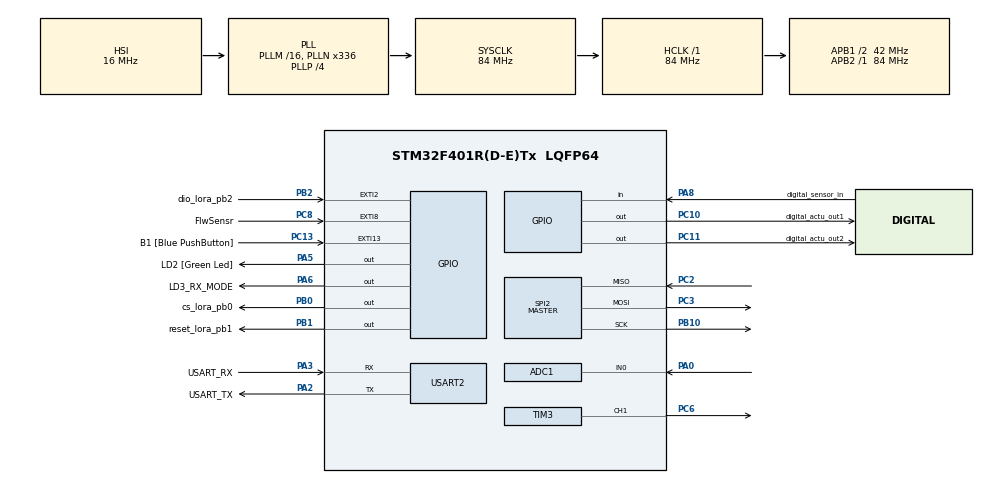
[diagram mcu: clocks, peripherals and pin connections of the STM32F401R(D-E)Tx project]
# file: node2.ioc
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ADC1.Channel-0\#ChannelRegularConversion=ADC_CHANNEL_0
ADC1.NbrOfConversion=1
ADC1.NbrOfConversionFlag=1
ADC1.Rank-0\#ChannelRegularConversion=1
ADC1.SamplingTime-0\#ChannelRegularConversion=ADC_SAMPLETIME_15CYCLES
ADC1.master=1
Mcu.Family=STM32F4
Mcu.Name=STM32F401R(D-E)Tx
Mcu.Package=LQFP64
Mcu.UserConstants=sleeptime,10;rcvtime,1
NVIC.ADC_IRQn=true\:0\:0\:false\:false\:true\:true\:true\:true
NVIC.EXTI15_10_IRQn=true\:0\:0\:false\:false\:true\:true\:true\:true
NVIC.EXTI2_IRQn=true\:0\:0\:false\:false\:true\:true\:true\:true
NVIC.PriorityGroup=NVIC_PRIORITYGROUP_0
NVIC.TIM2_IRQn=true\:0\:0\:false\:false\:true\:true\:true\:true
NVIC.TIM3_IRQn=true\:0\:0\:false\:false\:true\:true\:true\:true
NVIC.TIM5_IRQn=true\:0\:0\:false\:false\:true\:true\:true\:true
PA0-WKUP.Signal=ADCx_IN0
PA13.GPIO_Label=TMS
PA13.Mode=Serial_Wire
PA13.Signal=SYS_JTMS-SWDIO
PA14.GPIO_Label=TCK
PA14.Mode=Serial_Wire
PA14.Signal=SYS_JTCK-SWCLK
PA2.GPIO_Label=USART_TX
PA2.GPIO_Mode=GPIO_MODE_AF_PP
PA2.GPIO_PuPd=GPIO_NOPULL
PA2.GPIO_Speed=GPIO_SPEED_FREQ_LOW
PA2.Mode=Asynchronous
PA2.Signal=USART2_TX
PA3.GPIO_Label=USART_RX
PA3.GPIO_Mode=GPIO_MODE_AF_PP
PA3.GPIO_PuPd=GPIO_NOPULL
PA3.GPIO_Speed=GPIO_SPEED_FREQ_LOW
PA3.Mode=Asynchronous
PA3.Signal=USART2_RX
PA5.GPIO_Label=LD2 [Green Led]
PA5.GPIO_PuPd=GPIO_NOPULL
PA5.GPIO_Speed=GPIO_SPEED_FREQ_LOW
PA5.Signal=GPIO_Output
PA6.GPIO_Label=LD3_RX_MODE
PA6.Signal=GPIO_Output
PA8.GPIO_Label=digital_sensor_in
PA8.Signal=GPIO_Input
PB0.GPIO_Label=cs_lora_pb0
PB0.Signal=GPIO_Output
PB1.GPIO_Label=reset_lora_pb1
PB1.PinState=GPIO_PIN_SET
PB1.Signal=GPIO_Output
PB10.Mode=Full_Duplex_Master
PB10.Signal=SPI2_SCK
PB2.GPIO_Label=dio_lora_pb2
PB2.GPIO_ModeDefaultEXTI=GPIO_MODE_IT_FALLING
PB2.Signal=GPXTI2
PB3.GPIO_Label=SWO
PB3.Signal=SYS_JTDO-SWO
PC10.GPIO_Label=digital_actu_out1
PC10.Signal=GPIO_Output
PC11.GPIO_Label=digital_actu_out2
PC11.Signal=GPIO_Output
PC13-ANTI_TAMP.GPIO_Label=B1 [Blue PushButton]
PC13-ANTI_TAMP.GPIO_ModeDefaultEXTI=GPIO_MODE_IT_FALLING
PC13-ANTI_TAMP.GPIO_PuPd=GPIO_NOPULL
PC13-ANTI_TAMP.Signal=GPXTI13
PC14-OSC32_IN.Mode=LSE-External-Oscillator
PC14-OSC32_IN.Signal=RCC_OSC32_IN
PC15-OSC32_OUT.Mode=LSE-External-Oscillator
PC15-OSC32_OUT.Signal=RCC_OSC32_OUT
PC2.Mode=Full_Duplex_Master
PC2.Signal=SPI2_MISO
PC3.Mode=Full_Duplex_Master
PC3.Signal=SPI2_MOSI
PC6.Signal=S_TIM3_CH1
PC8.GPIO_Label=FlwSensr
PC8.Signal=GPXTI8
PH0\ -\ OSC_IN.Mode=HSE-External-Clock-Source
PH0\ -\ OSC_IN.Signal=RCC_OSC_IN
PH1\ -\ OSC_OUT.Mode=HSE-External-Clock-Source
PH1\ -\ OSC_OUT.Signal=RCC_OSC_OUT
ProjectManager.HeapSize=0x200
ProjectManager.StackSize=0x400
ProjectManager.TargetToolchain=STM32CubeIDE
RCC.48MHZClocksFreq_Value=48000000
RCC.AHBFreq_Value=84000000
RCC.APB1CLKDivider=RCC_HCLK_DIV2
RCC.APB1Freq_Value=42000000
RCC.APB1TimFreq_Value=84000000
RCC.APB2Freq_Value=84000000
RCC.APB2TimFreq_Value=84000000
RCC.CortexFreq_Value=84000000
RCC.HCLKFreq_Value=84000000
RCC.HSE_VALUE=8000000
RCC.HSI_VALUE=16000000
RCC.PLLN=336
RCC.PLLP=RCC_PLLP_DIV4
RCC.PLLQ=7
RCC.SYSCLKFreq_VALUE=84000000
RCC.SYSCLKSource=RCC_SYSCLKSOURCE_PLLCLK
RCC.VCOOutputFreq_Value=336000000
SH.ADCx_IN0.0=ADC1_IN0,IN0
SH.S_TIM3_CH1.0=TIM3_CH1,PWM Generation1 CH1
SPI2.BaudRatePrescaler=SPI_BAUDRATEPRESCALER_16
SPI2.CLKPolarity=SPI_POLARITY_LOW
SPI2.Direction=SPI_DIRECTION_2LINES
SPI2.Mode=SPI_MODE_MASTER
SPI2.VirtualType=VM_MASTER
TIM10.AutoReloadPreload=TIM_AUTORELOAD_PRELOAD_ENABLE
TIM10.ClockDivision=TIM_CLOCKDIVISION_DIV4
TIM10.Period=1000-1
TIM10.Prescaler=21000-1
TIM2.AutoReloadPreload=TIM_AUTORELOAD_PRELOAD_DISABLE
TIM2.ClockDivision=TIM_CLOCKDIVISION_DIV4
TIM2.Period=(rcvtime*4000)-1
TIM2.Prescaler=21000-1
TIM3.Channel-PWM\ Generation1\ CH1=TIM_CHANNEL_1
TIM3.ClockDivision=TIM_CLOCKDIVISION_DIV2
TIM3.Period=65535
TIM3.Prescaler=41
TIM3.Pulse-PWM\ Generation1\ CH1=32767
TIM5.ClockDivision=TIM_CLOCKDIVISION_DIV4
TIM5.Period=(sleeptime*4000)-1
TIM5.Prescaler=21000-1
USART2.VirtualMode=VM_ASYNC
VP_TIM10_VS_ClockSourceINT.Mode=Enable_Timer
VP_TIM2_VS_ClockSourceINT.Mode=Internal
VP_TIM3_VS_ClockSourceINT.Mode=Internal
VP_TIM5_VS_ClockSourceINT.Mode=Internal
board=NUCLEO-F401RE

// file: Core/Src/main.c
/* USER CODE BEGIN Header */
/**
 ******************************************************************************
 * @file           : main.c
 * @brief          : Main program body
 ******************************************************************************
 * @attention
 *
 * Copyright (c) 2022 STMicroelectronics.
 * All rights reserved.
 *
 * This software is licensed under terms that can be found in the LICENSE file
 * in the root directory of this software component.
 * If no LICENSE file comes with this software, it is provided AS-IS.
 *
 ******************************************************************************
 */

// TODO: CREATE A MESSAGE FORMAT
/* USER CODE END Header */
#include "main.h"

/* USER CODE BEGIN Includes */
#include <strings.h>
#include <stdbool.h>
#include <stdlib.h>
#include <stdio.h>
#include <string.h>
#include "LoRa.h"
// THIS IS A CUSTOM MESSGE REFER HEADER FILE
#include "message_1.h"

#define BUFF_SIZE 50
#define MESSAGESIZE 12

#define NODE_ID 0xAB
#define SENDTO_ID 0xAC

#define DIGITAL_OUT1 0x01
#define DIGITAL_OUT2 0x02
/* USER CODE END Includes */

/* USER CODE BEGIN PD */

#define RECEIVE // TRANSMIT // RECEIVE
#define TRANSMIT
/* USER CODE END PD */

 ADC_HandleTypeDef hadc1;

SPI_HandleTypeDef hspi2;

TIM_HandleTypeDef htim2;
TIM_HandleTypeDef htim3;
TIM_HandleTypeDef htim5;
TIM_HandleTypeDef htim10;

UART_HandleTypeDef huart2;

/* USER CODE BEGIN PV */
uint8_t LORA_RECEIVED_SOMETHING = 0;
uint8_t ADC_CONVERTED = 0;
uint8_t NODE_TRANSMIT = 1; // start with 1
uint8_t NODE_RECEIVE = 0;

volatile int FLOW_PULSE_COUNT=0;
volatile int FLOWRATE=0;
volatile uint8_t FLOWRATE_update=0;
/* USER CODE END PV */

void SystemClock_Config(void);
static void MX_GPIO_Init(void);
static void MX_USART2_UART_Init(void);
static void MX_SPI2_Init(void);
static void MX_ADC1_Init(void);
static void MX_TIM3_Init(void);
static void MX_TIM2_Init(void);
static void MX_TIM5_Init(void);
static void MX_TIM10_Init(void);

/* USER CODE BEGIN 0 */

// Over riding the call back handler

void HAL_TIM_PeriodElapsedCallback(TIM_HandleTypeDef *htim)
{

	if(htim==&htim10){
//		(Pulse frequency x 60 min) / 7.5Q = flow rate in L/hour
		FLOWRATE=FLOW_PULSE_COUNT*60/7.5;
		FLOW_PULSE_COUNT=0;
		FLOWRATE_update=1;
	}

 if(htim==&htim2) // 1 sec delay
 {
  NODE_RECEIVE = 0;
  HAL_TIM_Base_Stop(&htim2);
 }

 if(htim==&htim5)
 {
  NODE_TRANSMIT = 1;  //NODE_RECEIVE = 0 already
  HAL_TIM_Base_Stop(&htim5);

 }

 }

void HAL_GPIO_EXTI_Callback(uint16_t GPIO_Pin)
{

  char printbuffer[40] = {0};
  if (GPIO_Pin == FlwSensr_Pin){

	  FLOW_PULSE_COUNT++;
  }

  if (GPIO_Pin == dio_lora_pb2_Pin)
  {
    LORA_RECEIVED_SOMETHING = 1;
#ifdef RECEIVE
// snprintf(printbuffer,sizeof(printbuffer),"\nReceived something");
#endif
  }
  if (GPIO_Pin == B1_Pin)
  {
    snprintf(printbuffer, sizeof(printbuffer), "\nSomebody pressed the BLUE button!!");
    HAL_GPIO_TogglePin(LD2_GPIO_Port, LD2_Pin);
    HAL_UART_Transmit(&huart2, (uint8_t *)printbuffer, 40, 50);
  }
}

void HAL_ADC_ConvCpltCallback(ADC_HandleTypeDef *hadc)
{
  ADC_CONVERTED = 1;
}

/* USER CODE END 0 */

int main(void)
{
  /* USER CODE BEGIN 1 */
  char x = 'x', newline = '\n', temp;
  char receivedval = 0;
  unsigned int status, i, rssi, lora_connect;
  char buffer[BUFF_SIZE] = {0};
  uint8_t airquality_input = 0;
  uint8_t send_data[MESSAGESIZE];
  uint8_t received_data[MESSAGESIZE];
  uint8_t packet_size = 0;
  uint16_t adc_value = 0;
  MSGrcv msg_rcv;
  MSGsend msg_snd;
  LoRa myLoRa;
  float waterflowed=0.0;//,*tempfloatptr,tempfloat;
//  char *tempcharptr1,*tempcharptr2,*tempcharptr3,*tempcharptr4;
  /* USER CODE END 1 */

  /* MCU Configuration--------------------------------------------------------*/

  /* Reset of all peripherals, Initializes the Flash interface and the Systick. */
  HAL_Init();

  /* USER CODE BEGIN Init */

  // LORA SETTINGS
  myLoRa = newLoRa(); // sets frequency spreading factor to default value
  myLoRa.CS_pin = cs_lora_pb0_Pin;
  myLoRa.CS_port = cs_lora_pb0_GPIO_Port;
  myLoRa.reset_pin = reset_lora_pb1_Pin;
  myLoRa.reset_port = reset_lora_pb1_GPIO_Port;
  myLoRa.DIO0_port = dio_lora_pb2_GPIO_Port;
  myLoRa.DIO0_pin = dio_lora_pb2_Pin;
  myLoRa.hSPIx = &hspi2;

  /* USER CODE END Init */

  /* Configure the system clock */
  SystemClock_Config();

  /* Initialize all configured peripherals */
  MX_GPIO_Init();
  MX_USART2_UART_Init();
  MX_SPI2_Init();
  MX_ADC1_Init();
  MX_TIM3_Init();
  MX_TIM2_Init();
  MX_TIM5_Init();
  MX_TIM10_Init();
  /* USER CODE BEGIN 2 */

  //  HAL_TIM_PWM_Start(&htim3, TIM_CHANNEL_1);

  // start adc conversion through interrupt (air quality)
  HAL_ADC_Start_IT(&hadc1);

  // check lora
  lora_connect = LoRa_init(&myLoRa);

  // CHECK LORA STATUS
  if (lora_connect == LORA_OK)
  {
    sniprintf(buffer, BUFF_SIZE, "Lora connected...status= %d\n", lora_connect);
    HAL_UART_Transmit(&huart2, (uint8_t *)buffer, sizeof(buffer), 100);
  }
  else
    while (1)
    {
      sniprintf(buffer, BUFF_SIZE, "\n LORA NOT CONNECTED");
      HAL_UART_Transmit(&huart2, (uint8_t *)buffer, strlen(buffer), 100);
      HAL_Delay(1500);
    }

  // super loop
  //    update readings & clear buffer
  //     NODE_TRANSMIT_
  //                  tx stuff
  //                  strt timer 1 sec & rx=1
  //     RX
  //          loop(RX)
  //                receive stuff
  //          start timer 4 sec
  //          TX=0,RX=0

  while (1)
  {

    /// non tx rx stufff
	 if(FLOWRATE_update)
		 waterflowed+=FLOWRATE/(3600); // FLOWRATE is in L/hour

    if (ADC_CONVERTED)
    {
      ADC_CONVERTED = 0;
      adc_value = HAL_ADC_GetValue(&hadc1);
      HAL_ADC_Start_IT(&hadc1);
      snprintf(buffer, BUFF_SIZE, "\nADC conversion done  %d", adc_value);
//      HAL_UART_Transmit(&huart2, (uint8_t *)buffer, strlen(buffer), 100);
    }
    airquality_input = HAL_GPIO_ReadPin(digital_sensor_in_GPIO_Port, digital_sensor_in_Pin);
    if (!airquality_input) // sensor has inverse digital logic returns 0 on bad air quality
    {
      snprintf(buffer, BUFF_SIZE, "\nBAD Airquality %d", airquality_input);
//      HAL_UART_Transmit(&huart2, (uint8_t *)buffer, strlen(buffer), 100);
    }
    else
    {
      snprintf(buffer, BUFF_SIZE, "\nGood Airquality %d", airquality_input);
//      HAL_UART_Transmit(&huart2, (uint8_t *)buffer, strlen(buffer), 100);
    }

    /// end of  non tx rx stufff

    if (NODE_TRANSMIT)
    {

    	HAL_GPIO_WritePin(LD2_GPIO_Port, LD2_Pin, GPIO_PIN_SET);
#ifdef TRANSMIT
      msg_snd.ID = SENDTO_ID; // TODO
      msg_snd.digital = airquality_input ? 0x01 : 0x00;
      msg_snd.analog_converted = adc_value;
      msg_snd.waterFlowed=waterflowed;
//      msg_snd.waterFlowed=22.2;
//    THIS IS RMOVED  msg_snd.future[3]=HAL_GPIO_ReadPin(digital_actu_out1_GPIO_Port, digital_actu_out1_Pin) <<1 | HAL_GPIO_ReadPin(digital_actu_out2_GPIO_Port, digital_actu_out2_Pin);
// TO SEE THE LITTLE ENDIANNESS
//      tempcharptr1=&msg_snd.waterFlowed;
//      tempcharptr2=tempcharptr1+1;
//      tempcharptr3=tempcharptr2+1;
//      tempcharptr4=tempcharptr3+1;
      message1_addData(&msg_snd, send_data, MESSAGESIZE);
//      tempfloatptr=send_data+8;
//      tempfloat=*tempfloatptr;
      status = LoRa_transmit(&myLoRa, send_data, MESSAGESIZE, 50);
      if (status == 1)
      {
        snprintf(buffer, BUFF_SIZE, "\nTransmitted the message packets :");
        HAL_UART_Transmit(&huart2, (uint8_t *)buffer, strlen(buffer), 100);
        HAL_UART_Transmit(&huart2, (uint8_t *)send_data, MESSAGESIZE, 100);
      }
#endif
      HAL_GPIO_WritePin(LD2_GPIO_Port, LD2_Pin, GPIO_PIN_RESET);
      HAL_TIM_Base_Start_IT(&htim2); // start 1 second timer
      NODE_RECEIVE=1;
      NODE_TRANSMIT=0;
    }

    if (NODE_RECEIVE)
    {
     HAL_GPIO_WritePin(LD3_RX_MODE_GPIO_Port, LD3_RX_MODE_Pin, GPIO_PIN_SET);
#ifdef RECEIVE
      LoRa_startReceiving(&myLoRa);
      while (NODE_RECEIVE){
        //	 	if(LORA_RECEIVED_SOMETHING==1)
        packet_size = LoRa_receive(&myLoRa, received_data, BUFF_SIZE);

        // use the recived data for something
         if (packet_size == 12){
           snprintf(buffer, BUFF_SIZE, "\nReceived %d bytes", packet_size);
           HAL_UART_Transmit(&huart2, (uint8_t *)buffer, strlen(buffer), 100);
           message1_getData(&msg_rcv, received_data, packet_size);
           snprintf(buffer, BUFF_SIZE, "\nID=%c", msg_rcv.ID);
           HAL_UART_Transmit(&huart2, (uint8_t *)buffer, strlen(buffer), 100);

           // if(msg_rcv.ID==NODEID)
           if (msg_rcv.digital & DIGITAL_OUT1)
             HAL_GPIO_WritePin(digital_actu_out1_GPIO_Port, digital_actu_out1_Pin, GPIO_PIN_SET);
           else
             HAL_GPIO_WritePin(digital_actu_out1_GPIO_Port, digital_actu_out1_Pin, GPIO_PIN_RESET);

           if (msg_rcv.digital & DIGITAL_OUT2)
             HAL_GPIO_WritePin(digital_actu_out2_GPIO_Port, digital_actu_out2_Pin, GPIO_PIN_SET);
           else
             HAL_GPIO_WritePin(digital_actu_out2_GPIO_Port, digital_actu_out2_Pin, GPIO_PIN_RESET);

         }
         packet_size = 0;
         HAL_Delay(200);
      }
#endif
  	HAL_GPIO_WritePin(LD3_RX_MODE_GPIO_Port, LD3_RX_MODE_Pin, GPIO_PIN_RESET);
    LoRa_gotoMode(&myLoRa, STNBY_MODE);
    NODE_TRANSMIT=0;
    HAL_TIM_Base_Start_IT(&htim5); // start 4 second timer
    }

  }
  //

  /* USER CODE END 2 */

  /* Infinite loop */
  while (1)
  {

  }
}

void SystemClock_Config(void)
{
  RCC_OscInitTypeDef RCC_OscInitStruct = {0};
  RCC_ClkInitTypeDef RCC_ClkInitStruct = {0};

  /** Configure the main internal regulator output voltage
  */
  __HAL_RCC_PWR_CLK_ENABLE();
  __HAL_PWR_VOLTAGESCALING_CONFIG(PWR_REGULATOR_VOLTAGE_SCALE2);

  /** Initializes the RCC Oscillators according to the specified parameters
  * in the RCC_OscInitTypeDef structure.
  */
  RCC_OscInitStruct.OscillatorType = RCC_OSCILLATORTYPE_HSI;
  RCC_OscInitStruct.HSIState = RCC_HSI_ON;
  RCC_OscInitStruct.HSICalibrationValue = RCC_HSICALIBRATION_DEFAULT;
  RCC_OscInitStruct.PLL.PLLState = RCC_PLL_ON;
  RCC_OscInitStruct.PLL.PLLSource = RCC_PLLSOURCE_HSI;
  RCC_OscInitStruct.PLL.PLLM = 16;
  RCC_OscInitStruct.PLL.PLLN = 336;
  RCC_OscInitStruct.PLL.PLLP = RCC_PLLP_DIV4;
  RCC_OscInitStruct.PLL.PLLQ = 7;
  if (HAL_RCC_OscConfig(&RCC_OscInitStruct) != HAL_OK)
  {
    Error_Handler();
  }

  /** Initializes the CPU, AHB and APB buses clocks
  */
  RCC_ClkInitStruct.ClockType = RCC_CLOCKTYPE_HCLK|RCC_CLOCKTYPE_SYSCLK
                              |RCC_CLOCKTYPE_PCLK1|RCC_CLOCKTYPE_PCLK2;
  RCC_ClkInitStruct.SYSCLKSource = RCC_SYSCLKSOURCE_PLLCLK;
  RCC_ClkInitStruct.AHBCLKDivider = RCC_SYSCLK_DIV1;
  RCC_ClkInitStruct.APB1CLKDivider = RCC_HCLK_DIV2;
  RCC_ClkInitStruct.APB2CLKDivider = RCC_HCLK_DIV1;

  if (HAL_RCC_ClockConfig(&RCC_ClkInitStruct, FLASH_LATENCY_2) != HAL_OK)
  {
    Error_Handler();
  }
}

static void MX_ADC1_Init(void)
{

  ADC_ChannelConfTypeDef sConfig = {0};

  /** Configure the global features of the ADC (Clock, Resolution, Data Alignment and number of conversion)
  */
  hadc1.Instance = ADC1;
  hadc1.Init.ClockPrescaler = ADC_CLOCK_SYNC_PCLK_DIV4;
  hadc1.Init.Resolution = ADC_RESOLUTION_12B;
  hadc1.Init.ScanConvMode = DISABLE;
  hadc1.Init.ContinuousConvMode = DISABLE;
  hadc1.Init.DiscontinuousConvMode = DISABLE;
  hadc1.Init.ExternalTrigConvEdge = ADC_EXTERNALTRIGCONVEDGE_NONE;
  hadc1.Init.ExternalTrigConv = ADC_SOFTWARE_START;
  hadc1.Init.DataAlign = ADC_DATAALIGN_RIGHT;
  hadc1.Init.NbrOfConversion = 1;
  hadc1.Init.DMAContinuousRequests = DISABLE;
  hadc1.Init.EOCSelection = ADC_EOC_SINGLE_CONV;
  if (HAL_ADC_Init(&hadc1) != HAL_OK)
  {
    Error_Handler();
  }

  /** Configure for the selected ADC regular channel its corresponding rank in the sequencer and its sample time.
  */
  sConfig.Channel = ADC_CHANNEL_0;
  sConfig.Rank = 1;
  sConfig.SamplingTime = ADC_SAMPLETIME_15CYCLES;
  if (HAL_ADC_ConfigChannel(&hadc1, &sConfig) != HAL_OK)
  {
    Error_Handler();
  }

}

static void MX_SPI2_Init(void)
{

  /* SPI2 parameter configuration*/
  hspi2.Instance = SPI2;
  hspi2.Init.Mode = SPI_MODE_MASTER;
  hspi2.Init.Direction = SPI_DIRECTION_2LINES;
  hspi2.Init.DataSize = SPI_DATASIZE_8BIT;
  hspi2.Init.CLKPolarity = SPI_POLARITY_LOW;
  hspi2.Init.CLKPhase = SPI_PHASE_1EDGE;
  hspi2.Init.NSS = SPI_NSS_SOFT;
  hspi2.Init.BaudRatePrescaler = SPI_BAUDRATEPRESCALER_16;
  hspi2.Init.FirstBit = SPI_FIRSTBIT_MSB;
  hspi2.Init.TIMode = SPI_TIMODE_DISABLE;
  hspi2.Init.CRCCalculation = SPI_CRCCALCULATION_DISABLE;
  hspi2.Init.CRCPolynomial = 10;
  if (HAL_SPI_Init(&hspi2) != HAL_OK)
  {
    Error_Handler();
  }

}

static void MX_TIM2_Init(void)
{

  TIM_ClockConfigTypeDef sClockSourceConfig = {0};
  TIM_MasterConfigTypeDef sMasterConfig = {0};

  htim2.Instance = TIM2;
  htim2.Init.Prescaler = 21000-1;
  htim2.Init.CounterMode = TIM_COUNTERMODE_UP;
  htim2.Init.Period = (rcvtime*4000)-1;
  htim2.Init.ClockDivision = TIM_CLOCKDIVISION_DIV4;
  htim2.Init.AutoReloadPreload = TIM_AUTORELOAD_PRELOAD_DISABLE;
  if (HAL_TIM_Base_Init(&htim2) != HAL_OK)
  {
    Error_Handler();
  }
  sClockSourceConfig.ClockSource = TIM_CLOCKSOURCE_INTERNAL;
  if (HAL_TIM_ConfigClockSource(&htim2, &sClockSourceConfig) != HAL_OK)
  {
    Error_Handler();
  }
  sMasterConfig.MasterOutputTrigger = TIM_TRGO_RESET;
  sMasterConfig.MasterSlaveMode = TIM_MASTERSLAVEMODE_DISABLE;
  if (HAL_TIMEx_MasterConfigSynchronization(&htim2, &sMasterConfig) != HAL_OK)
  {
    Error_Handler();
  }

}

static void MX_TIM3_Init(void)
{

  TIM_ClockConfigTypeDef sClockSourceConfig = {0};
  TIM_MasterConfigTypeDef sMasterConfig = {0};
  TIM_OC_InitTypeDef sConfigOC = {0};

  htim3.Instance = TIM3;
  htim3.Init.Prescaler = 41;
  htim3.Init.CounterMode = TIM_COUNTERMODE_UP;
  htim3.Init.Period = 65535;
  htim3.Init.ClockDivision = TIM_CLOCKDIVISION_DIV2;
  htim3.Init.AutoReloadPreload = TIM_AUTORELOAD_PRELOAD_DISABLE;
  if (HAL_TIM_Base_Init(&htim3) != HAL_OK)
  {
    Error_Handler();
  }
  sClockSourceConfig.ClockSource = TIM_CLOCKSOURCE_INTERNAL;
  if (HAL_TIM_ConfigClockSource(&htim3, &sClockSourceConfig) != HAL_OK)
  {
    Error_Handler();
  }
  if (HAL_TIM_PWM_Init(&htim3) != HAL_OK)
  {
    Error_Handler();
  }
  sMasterConfig.MasterOutputTrigger = TIM_TRGO_RESET;
  sMasterConfig.MasterSlaveMode = TIM_MASTERSLAVEMODE_DISABLE;
  if (HAL_TIMEx_MasterConfigSynchronization(&htim3, &sMasterConfig) != HAL_OK)
  {
    Error_Handler();
  }
  sConfigOC.OCMode = TIM_OCMODE_PWM1;
  sConfigOC.Pulse = 32767;
  sConfigOC.OCPolarity = TIM_OCPOLARITY_HIGH;
  sConfigOC.OCFastMode = TIM_OCFAST_DISABLE;
  if (HAL_TIM_PWM_ConfigChannel(&htim3, &sConfigOC, TIM_CHANNEL_1) != HAL_OK)
  {
    Error_Handler();
  }
  HAL_TIM_MspPostInit(&htim3);

}

static void MX_TIM5_Init(void)
{

  TIM_ClockConfigTypeDef sClockSourceConfig = {0};
  TIM_MasterConfigTypeDef sMasterConfig = {0};

  htim5.Instance = TIM5;
  htim5.Init.Prescaler = 21000-1;
  htim5.Init.CounterMode = TIM_COUNTERMODE_UP;
  htim5.Init.Period = (sleeptime*4000)-1;
  htim5.Init.ClockDivision = TIM_CLOCKDIVISION_DIV4;
  htim5.Init.AutoReloadPreload = TIM_AUTORELOAD_PRELOAD_DISABLE;
  if (HAL_TIM_Base_Init(&htim5) != HAL_OK)
  {
    Error_Handler();
  }
  sClockSourceConfig.ClockSource = TIM_CLOCKSOURCE_INTERNAL;
  if (HAL_TIM_ConfigClockSource(&htim5, &sClockSourceConfig) != HAL_OK)
  {
    Error_Handler();
  }
  sMasterConfig.MasterOutputTrigger = TIM_TRGO_RESET;
  sMasterConfig.MasterSlaveMode = TIM_MASTERSLAVEMODE_DISABLE;
  if (HAL_TIMEx_MasterConfigSynchronization(&htim5, &sMasterConfig) != HAL_OK)
  {
    Error_Handler();
  }

}

static void MX_TIM10_Init(void)
{

  htim10.Instance = TIM10;
  htim10.Init.Prescaler = 21000-1;
  htim10.Init.CounterMode = TIM_COUNTERMODE_UP;
  htim10.Init.Period = 1000-1;
  htim10.Init.ClockDivision = TIM_CLOCKDIVISION_DIV4;
  htim10.Init.AutoReloadPreload = TIM_AUTORELOAD_PRELOAD_ENABLE;
  if (HAL_TIM_Base_Init(&htim10) != HAL_OK)
  {
    Error_Handler();
  }

}

static void MX_USART2_UART_Init(void)
{

  huart2.Instance = USART2;
  huart2.Init.BaudRate = 115200;
  huart2.Init.WordLength = UART_WORDLENGTH_8B;
  huart2.Init.StopBits = UART_STOPBITS_1;
  huart2.Init.Parity = UART_PARITY_NONE;
  huart2.Init.Mode = UART_MODE_TX_RX;
  huart2.Init.HwFlowCtl = UART_HWCONTROL_NONE;
  huart2.Init.OverSampling = UART_OVERSAMPLING_16;
  if (HAL_UART_Init(&huart2) != HAL_OK)
  {
    Error_Handler();
  }

}

static void MX_GPIO_Init(void)
{
  GPIO_InitTypeDef GPIO_InitStruct = {0};

  /* GPIO Ports Clock Enable */
  __HAL_RCC_GPIOC_CLK_ENABLE();
  __HAL_RCC_GPIOH_CLK_ENABLE();
  __HAL_RCC_GPIOA_CLK_ENABLE();
  __HAL_RCC_GPIOB_CLK_ENABLE();

  /*Configure GPIO pin Output Level */
  HAL_GPIO_WritePin(GPIOA, LD2_Pin|LD3_RX_MODE_Pin, GPIO_PIN_RESET);

  /*Configure GPIO pin Output Level */
  HAL_GPIO_WritePin(cs_lora_pb0_GPIO_Port, cs_lora_pb0_Pin, GPIO_PIN_RESET);

  /*Configure GPIO pin Output Level */
  HAL_GPIO_WritePin(reset_lora_pb1_GPIO_Port, reset_lora_pb1_Pin, GPIO_PIN_SET);

  /*Configure GPIO pin Output Level */
  HAL_GPIO_WritePin(GPIOC, digital_actu_out1_Pin|digital_actu_out2_Pin, GPIO_PIN_RESET);

  /*Configure GPIO pin : B1_Pin */
  GPIO_InitStruct.Pin = B1_Pin;
  GPIO_InitStruct.Mode = GPIO_MODE_IT_FALLING;
  GPIO_InitStruct.Pull = GPIO_NOPULL;
  HAL_GPIO_Init(B1_GPIO_Port, &GPIO_InitStruct);

  /*Configure GPIO pins : LD2_Pin LD3_RX_MODE_Pin */
  GPIO_InitStruct.Pin = LD2_Pin|LD3_RX_MODE_Pin;
  GPIO_InitStruct.Mode = GPIO_MODE_OUTPUT_PP;
  GPIO_InitStruct.Pull = GPIO_NOPULL;
  GPIO_InitStruct.Speed = GPIO_SPEED_FREQ_LOW;
  HAL_GPIO_Init(GPIOA, &GPIO_InitStruct);

  /*Configure GPIO pins : cs_lora_pb0_Pin reset_lora_pb1_Pin */
  GPIO_InitStruct.Pin = cs_lora_pb0_Pin|reset_lora_pb1_Pin;
  GPIO_InitStruct.Mode = GPIO_MODE_OUTPUT_PP;
  GPIO_InitStruct.Pull = GPIO_NOPULL;
  GPIO_InitStruct.Speed = GPIO_SPEED_FREQ_LOW;
  HAL_GPIO_Init(GPIOB, &GPIO_InitStruct);

  /*Configure GPIO pin : dio_lora_pb2_Pin */
  GPIO_InitStruct.Pin = dio_lora_pb2_Pin;
  GPIO_InitStruct.Mode = GPIO_MODE_IT_FALLING;
  GPIO_InitStruct.Pull = GPIO_NOPULL;
  HAL_GPIO_Init(dio_lora_pb2_GPIO_Port, &GPIO_InitStruct);

  /*Configure GPIO pin : FlwSensr_Pin */
  GPIO_InitStruct.Pin = FlwSensr_Pin;
  GPIO_InitStruct.Mode = GPIO_MODE_IT_RISING;
  GPIO_InitStruct.Pull = GPIO_NOPULL;
  HAL_GPIO_Init(FlwSensr_GPIO_Port, &GPIO_InitStruct);

  /*Configure GPIO pin : digital_sensor_in_Pin */
  GPIO_InitStruct.Pin = digital_sensor_in_Pin;
  GPIO_InitStruct.Mode = GPIO_MODE_INPUT;
  GPIO_InitStruct.Pull = GPIO_NOPULL;
  HAL_GPIO_Init(digital_sensor_in_GPIO_Port, &GPIO_InitStruct);

  /*Configure GPIO pins : digital_actu_out1_Pin digital_actu_out2_Pin */
  GPIO_InitStruct.Pin = digital_actu_out1_Pin|digital_actu_out2_Pin;
  GPIO_InitStruct.Mode = GPIO_MODE_OUTPUT_PP;
  GPIO_InitStruct.Pull = GPIO_NOPULL;
  GPIO_InitStruct.Speed = GPIO_SPEED_FREQ_LOW;
  HAL_GPIO_Init(GPIOC, &GPIO_InitStruct);

  /* EXTI interrupt init*/
  HAL_NVIC_SetPriority(EXTI2_IRQn, 0, 0);
  HAL_NVIC_EnableIRQ(EXTI2_IRQn);

  HAL_NVIC_SetPriority(EXTI15_10_IRQn, 0, 0);
  HAL_NVIC_EnableIRQ(EXTI15_10_IRQn);

}

void Error_Handler(void)
{
  __disable_irq();
  while (1)
  {
  }
}
